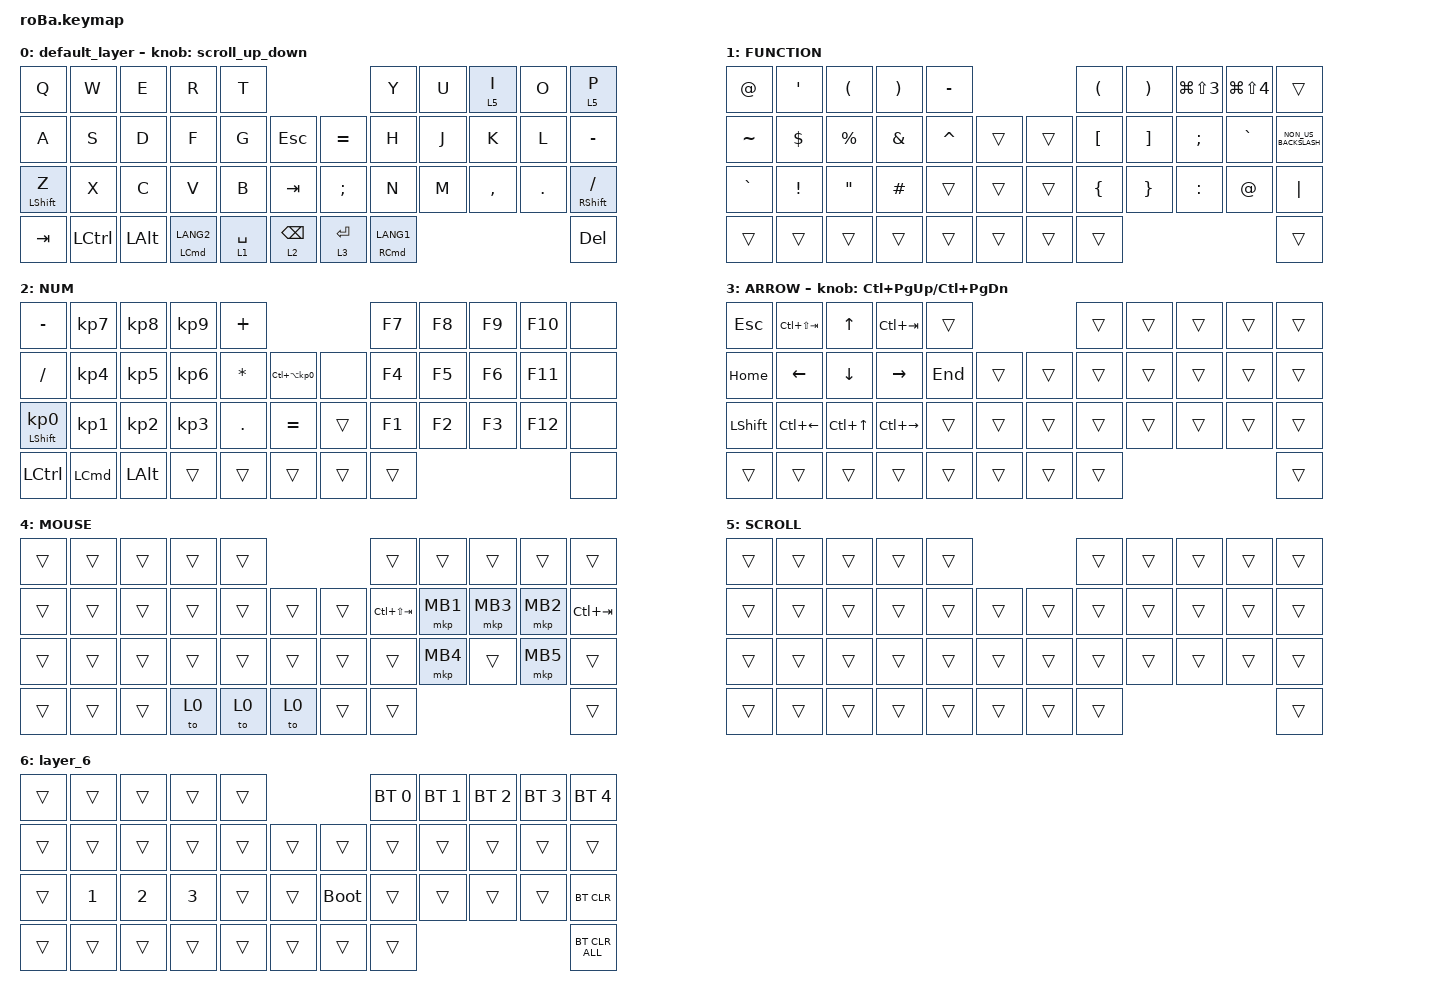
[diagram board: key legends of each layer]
#include <behaviors.dtsi>
#include <dt-bindings/zmk/bt.h>
#include <dt-bindings/zmk/keys.h>
#include <dt-bindings/zmk/pointing.h>

#define ZMK_POINTING_DEFAULT_SCRL_VAL 100

&mt {
    flavor = "balanced";
    quick-tap-ms = <0>;
};

&trackball {
    automouse-layer = <4>;
    scroll-layers = <5>;

    // arrows {
    //     layers = <3>;
    //     bindings =
    //         <&kp RIGHT_ARROW>,
    //         <&kp LEFT_ARROW>,
    //         <&kp UP_ARROW>,
    //         <&kp DOWN_ARROW>;
    //     tick = <10>;
    //     wait-ms = <5>;
    //     tap-ms = <5>;
    // };
};

/ {
    combos {
        compatible = "zmk,combos";

        tab {
            bindings = <&kp TAB>;
            key-positions = <11 12>;
        };

        shift_tab {
            bindings = <&kp LS(TAB)>;
            key-positions = <12 13>;
        };

        muhennkann {
            bindings = <&to_layer_0 INT_MUHENKAN>;
            key-positions = <11 10>;
        };

        double_quotation {
            bindings = <&kp DOUBLE_QUOTES>;
            key-positions = <20 21>;
        };

        eq {
            bindings = <&kp EQUAL>;
            key-positions = <24 25>;
        };
    };

    macros {
        to_layer_0: to_layer_0 {
            compatible = "zmk,behavior-macro-one-param";
            #binding-cells = <1>;
            bindings = <&to 0 &macro_param_1to1 &kp MACRO_PLACEHOLDER>;
            label = "TO_LAYER_0";
        };
    };

    behaviors {
        lt_to_layer_0: lt_to_layer_0 {
            compatible = "zmk,behavior-hold-tap";
            label = "LAYER_TAP_TO_0";
            bindings = <&mo>, <&to_layer_0>;

            #binding-cells = <2>;
            tapping-term-ms = <200>;
        };

        scroll_up_down: behavior_sensor_rotate_mouse_wheel_up_down {
            compatible = "zmk,behavior-sensor-rotate";
            #sensor-binding-cells = <0>;
            bindings = <&msc SCRL_UP>, <&msc SCRL_DOWN>;

            // 追加: スクロールのタップ時間を設定 (20ms)

            tap-ms = <20>;
        };
    };

    keymap {
        compatible = "zmk,keymap";

        default_layer {
            bindings = <
&kp Q             &kp W             &kp E         &kp R           &kp T                                            &kp Y           &kp U  &lt 5 I    &kp O    &lt 5 P
&kp A             &kp S             &kp D         &kp F           &kp G        &kp ESC              &kp EQUAL      &kp H           &kp J  &kp K      &kp L    &kp MINUS
&mt LEFT_SHIFT Z  &kp X             &kp C         &kp V           &kp B        &kp TAB              &kp SEMICOLON  &kp N           &kp M  &kp COMMA  &kp DOT  &mt RIGHT_SHIFT SLASH
&kp TAB           &kp LEFT_CONTROL  &kp LEFT_ALT  &mt LCMD LANG2  &lt 1 SPACE  &lt 2 BACKSPACE      &lt 3 ENTER    &mt RCMD LANG1                             &kp DEL
            >;

            sensor-bindings = <&scroll_up_down>;
        };

        FUNCTION {
            bindings = <
&kp AT_SIGN  &kp SQT          &kp LEFT_PARENTHESIS  &kp RIGHT_PARENTHESIS  &kp MINUS                      &kp LEFT_PARENTHESIS  &kp RIGHT_PARENTHESIS  &kp LG(LS(NUMBER_3))  &kp LG(LS(NUMBER_4))  &trans
&kp TILDE    &kp DOLLAR       &kp PERCENT           &kp AMPERSAND          &kp CARET  &trans      &trans  &kp LEFT_BRACKET      &kp RIGHT_BRACKET      &kp SEMICOLON         &kp GRAVE             &kp NON_US_BACKSLASH
&kp GRAVE    &kp EXCLAMATION  &kp DOUBLE_QUOTES     &kp HASH               &trans     &trans      &trans  &kp LEFT_BRACE        &kp RIGHT_BRACE        &kp COLON             &kp AT_SIGN           &kp PIPE
&trans       &trans           &trans                &trans                 &trans     &trans      &trans  &trans                                                                                   &trans
            >;
        };

        NUM {
            bindings = <
&kp MINUS                   &kp KP_NUMBER_7  &kp KP_NUMBER_8  &kp KP_NUMBER_9  &kp PLUS                                           &kp F7  &kp F8  &kp F9  &kp F10  &none
&kp SLASH                   &kp KP_NUMBER_4  &kp KP_NUMBER_5  &kp KP_NUMBER_6  &kp ASTERISK  &kp LC(LA(KP_NUMBER_0))      &none   &kp F4  &kp F5  &kp F6  &kp F11  &none
&mt LEFT_SHIFT KP_NUMBER_0  &kp KP_NUMBER_1  &kp KP_NUMBER_2  &kp KP_NUMBER_3  &kp PERIOD    &kp EQUAL                    &trans  &kp F1  &kp F2  &kp F3  &kp F12  &none
&kp LCTRL                   &kp LCMD         &kp LEFT_ALT     &trans           &trans        &trans                       &trans  &trans                           &none
            >;
        };

        ARROW {
            bindings = <
&kp ESCAPE      &kp LC(LS(TAB))     &kp UP_ARROW      &kp LC(TAB)          &trans                       &trans  &trans  &trans  &trans  &trans
&kp HOME        &kp LEFT_ARROW      &kp DOWN_ARROW    &kp RIGHT_ARROW      &kp END  &trans      &trans  &trans  &trans  &trans  &trans  &trans
&kp LEFT_SHIFT  &kp LC(LEFT_ARROW)  &kp LC(UP_ARROW)  &kp LC(RIGHT_ARROW)  &trans   &trans      &trans  &trans  &trans  &trans  &trans  &trans
&trans          &trans              &trans            &trans               &trans   &trans      &trans  &trans                          &trans
            >;

            sensor-bindings = <&inc_dec_kp LC(PAGE_UP) LC(PAGE_DOWN)>;
        };

        MOUSE {
            bindings = <
&trans  &trans  &trans  &trans  &trans                      &trans           &trans    &trans    &trans    &trans
&trans  &trans  &trans  &trans  &trans  &trans      &trans  &kp LC(LS(TAB))  &mkp MB1  &mkp MB3  &mkp MB2  &kp LC(TAB)
&trans  &trans  &trans  &trans  &trans  &trans      &trans  &trans           &mkp MB4  &trans    &mkp MB5  &trans
&trans  &trans  &trans  &to 0   &to 0   &to 0       &trans  &trans                                         &trans
            >;
        };

        SCROLL {
            bindings = <
&trans  &trans  &trans  &trans  &trans                      &trans  &trans  &trans  &trans  &trans
&trans  &trans  &trans  &trans  &trans  &trans      &trans  &trans  &trans  &trans  &trans  &trans
&trans  &trans  &trans  &trans  &trans  &trans      &trans  &trans  &trans  &trans  &trans  &trans
&trans  &trans  &trans  &trans  &trans  &trans      &trans  &trans                          &trans
            >;
        };

        layer_6 {
            bindings = <
&trans  &trans        &trans        &trans        &trans                           &bt BT_SEL 0  &bt BT_SEL 1  &bt BT_SEL 2  &bt BT_SEL 3  &bt BT_SEL 4
&trans  &trans        &trans        &trans        &trans  &trans      &trans       &trans        &trans        &trans        &trans        &trans
&trans  &kp NUMBER_1  &kp NUMBER_2  &kp NUMBER_3  &trans  &trans      &bootloader  &trans        &trans        &trans        &trans        &bt BT_CLR
&trans  &trans        &trans        &trans        &trans  &trans      &trans       &trans                                                  &bt BT_CLR_ALL
            >;
        };
    };
};
